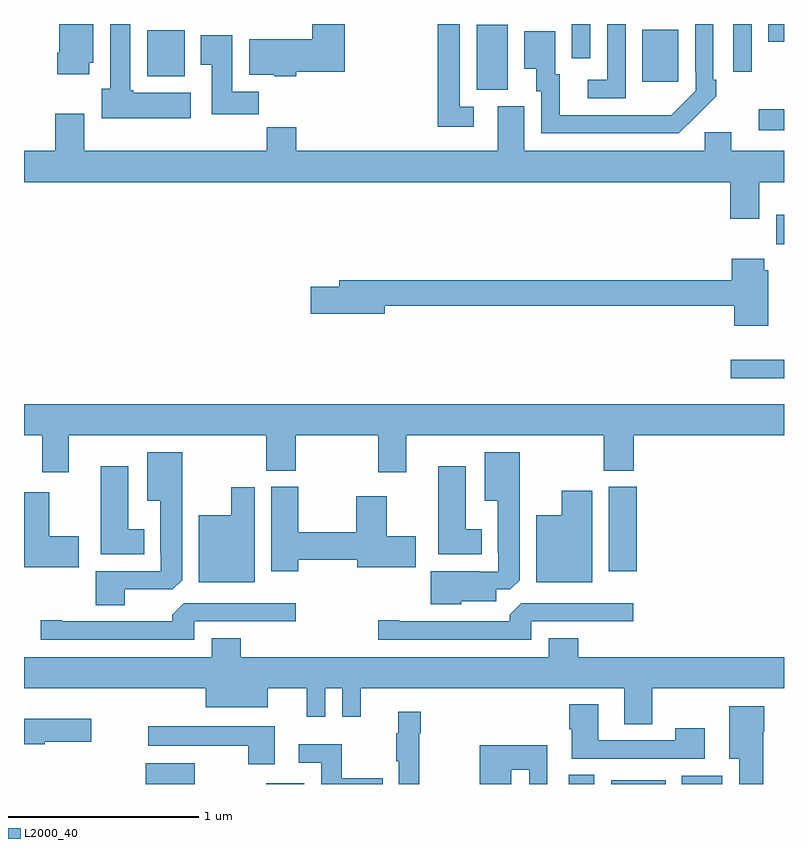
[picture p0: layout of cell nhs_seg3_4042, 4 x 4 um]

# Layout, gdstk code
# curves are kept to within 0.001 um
import gdstk
lib = gdstk.Library(unit=1e-6, precision=1e-09)
def R(c, l, rs):  # rectangles x0, y0, x1, y1
    for r in rs: c.add(gdstk.rectangle(r[:2], r[2:], *l))
def P(c, l, *ps):  # polygons
    for p in ps: c.add(gdstk.Polygon(p, *l))
L2000_40 = (2000, 40)

nhs_seg3_4042 = lib.new_cell('nhs_seg3_4042')
R(nhs_seg3_4042, L2000_40, [(323.642,712.4,323.899,712.51), (324.275,712.4,324.475,712.405), (325.868,712.4,326.002,712.448), (326.09,712.4,326.377,712.42), (326.462,712.4,326.674,712.444), (326.078,713.52,326.225,713.964), (326.721,714.536,327,714.633), (326.96,715.242,327,715.396), (326.868,715.842,327,715.951), (325.382,716.053,325.546,716.396), (326.255,716.097,326.443,716.371), (323.648,716.126,323.845,716.368), (326.733,716.148,326.829,716.4), (325.884,716.22,325.98,716.4), (326.918,716.306,327,716.4)])
P(nhs_seg3_4042, L2000_40, [(325.366,715.965),(325.293,715.965),(325.293,716.4),(325.177,716.4),(325.177,715.86),(325.366,715.86)],
  [(326.166,716.4),(326.07,716.4),(326.07,716.106),(325.968,716.106),(325.968,716.01),(326.166,716.01)],
  [(326.537,715.915),(326.538,715.914),(326.643,716.019),(326.643,716.107),(326.628,716.107),(326.628,716.4),(326.532,716.4),(326.532,716.149),(326.535,716.149),(326.535,716.049),(326.407,715.921),(325.819,715.92),(325.819,716.136),(325.795,716.136),(325.795,716.362),(325.634,716.362),(325.634,716.165),(325.697,716.165),(325.697,716.046),(325.722,716.046),(325.722,715.824),(326.446,715.824)],
  [(323.344,716.196),(323.365,716.196),(323.365,716.4),(323.186,716.4),(323.186,716.248),(323.174,716.248),(323.174,716.136),(323.344,716.136)],
  [(324.432,716.15),(324.689,716.15),(324.689,716.4),(324.518,716.4),(324.518,716.32),(324.185,716.32),(324.185,716.132),(324.318,716.132),(324.318,716.126),(324.432,716.126)],
  [(323.878,716.038),(323.574,716.038),(323.574,716.052),(323.56,716.052),(323.56,716.4),(323.453,716.4),(323.453,716.058),(323.408,716.058),(323.408,715.904),(323.878,715.904)],
  [(324.236,716.044),(324.097,716.044),(324.097,716.341),(323.93,716.341),(323.93,716.185),(323.987,716.185),(323.987,715.926),(324.236,715.926)],
  [(326.869,715.568),(327,715.568),(327,715.732),(326.722,715.732),(326.722,715.83),(326.583,715.83),(326.583,715.732),(325.633,715.732),(325.633,715.968),(325.493,715.968),(325.493,715.732),(324.434,715.732),(324.434,715.856),(324.277,715.856),(324.277,715.732),(323.317,715.732),(323.317,715.927),(323.165,715.927),(323.165,715.732),(323,715.732),(323,715.568),(326.717,715.568),(326.717,715.374),(326.869,715.374)],
  [(326.917,715.104),(326.896,715.104),(326.896,715.165),(326.726,715.165),(326.726,715.052),(324.659,715.052),(324.659,715.016),(324.51,715.016),(324.51,714.874),(324.898,714.874),(324.898,714.916),(326.738,714.916),(326.738,714.812),(326.917,714.812)],
  [(323.236,714.236),(324.274,714.236),(324.274,714.049),(324.429,714.049),(324.429,714.236),(324.865,714.236),(324.865,714.042),(325.012,714.042),(325.012,714.236),(326.05,714.236),(326.05,714.049),(326.21,714.049),(326.21,714.236),(327,714.236),(327,714.4),(323,714.4),(323,714.236),(323.096,714.236),(323.096,714.042),(323.236,714.042)],
  [(323.53,713.424),(323.784,713.424),(323.833,713.473),(323.833,714.145),(323.648,714.145),(323.648,713.891),(323.717,713.891),(323.717,713.617),(323.721,713.617),(323.721,713.52),(323.378,713.52),(323.378,713.341),(323.53,713.341)],
  [(325.302,713.363),(325.486,713.363),(325.486,713.424),(325.56,713.424),(325.609,713.473),(325.609,714.145),(325.424,714.145),(325.424,713.891),(325.493,713.891),(325.493,713.617),(325.497,713.617),(325.497,713.517),(325.397,713.517),(325.397,713.521),(325.142,713.521),(325.142,713.345),(325.302,713.345)],
  [(323.632,713.74),(323.548,713.74),(323.548,714.073),(323.405,714.073),(323.405,713.609),(323.632,713.609)],
  [(325.408,713.74),(325.324,713.74),(325.324,714.073),(325.181,714.073),(325.181,713.609),(325.408,713.609)],
  [(324.444,713.579),(324.755,713.579),(324.755,713.54),(325.063,713.54),(325.063,713.703),(324.91,713.703),(324.91,713.914),(324.748,713.914),(324.748,713.726),(324.444,713.726),(324.444,713.964),(324.302,713.964),(324.302,713.52),(324.444,713.52)],
  [(324.214,713.962),(324.092,713.962),(324.092,713.815),(323.921,713.815),(323.921,713.462),(324.214,713.462)],
  [(325.99,713.944),(325.829,713.944),(325.829,713.815),(325.697,713.815),(325.697,713.462),(325.99,713.462)],
  [(323.287,713.703),(323.134,713.703),(323.134,713.935),(323,713.935),(323,713.54),(323.287,713.54)],
  [(323.895,713.256),(324.43,713.256),(324.43,713.352),(323.841,713.352),(323.78,713.29),(323.78,713.256),(323.2,713.256),(323.2,713.261),(323.088,713.261),(323.088,713.16),(323.895,713.16)],
  [(325.671,713.256),(326.206,713.256),(326.206,713.352),(325.617,713.352),(325.556,713.29),(325.556,713.256),(324.976,713.256),(324.976,713.261),(324.864,713.261),(324.864,713.16),(325.671,713.16)],
  [(326.307,712.904),(327,712.904),(327,713.068),(325.916,713.068),(325.916,713.167),(325.763,713.167),(325.763,713.068),(324.14,713.068),(324.14,713.167),(323.987,713.167),(323.987,713.068),(323,713.068),(323,712.904),(323.957,712.904),(323.957,712.805),(324.283,712.805),(324.283,712.904),(324.488,712.904),(324.488,712.755),(324.585,712.755),(324.585,712.904),(324.675,712.904),(324.675,712.755),(324.773,712.755),(324.773,712.904),(326.159,712.904),(326.159,712.714),(326.307,712.714)],
  [(326.584,712.693),(326.428,712.693),(326.428,712.629),(326.023,712.629),(326.023,712.819),(325.871,712.819),(325.871,712.687),(325.883,712.687),(325.883,712.533),(326.584,712.533)],
  [(326.891,712.674),(326.896,712.674),(326.896,712.81),(326.711,712.81),(326.711,712.532),(326.765,712.532),(326.765,712.4),(326.891,712.4)],
  [(325.081,712.667),(325.088,712.667),(325.088,712.78),(324.971,712.78),(324.971,712.667),(324.96,712.667),(324.96,712.519),(324.972,712.519),(324.972,712.4),(325.081,712.4)],
  [(323.109,712.622),(323.353,712.622),(323.353,712.744),(323,712.744),(323,712.61),(323.109,712.61)],
  [(324.319,712.705),(323.655,712.705),(323.655,712.601),(324.179,712.601),(324.179,712.503),(324.319,712.503)],
  [(324.887,712.431),(324.673,712.431),(324.673,712.609),(324.447,712.609),(324.447,712.512),(324.564,712.512),(324.564,712.4),(324.887,712.4)],
  [(325.564,712.474),(325.659,712.474),(325.659,712.4),(325.755,712.4),(325.755,712.603),(325.399,712.603),(325.399,712.4),(325.564,712.4)])

lib.write_gds('nhs_seg3_4042.gds')
